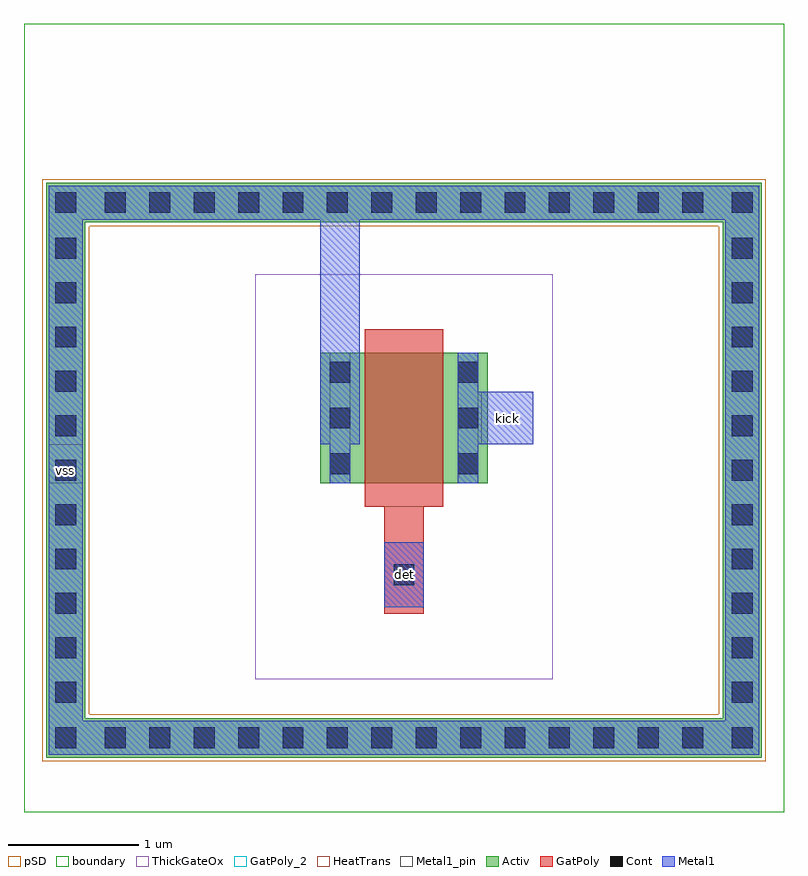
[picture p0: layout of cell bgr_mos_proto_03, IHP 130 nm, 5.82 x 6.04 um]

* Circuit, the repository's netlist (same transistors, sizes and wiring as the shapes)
.subckt bgr_mos_proto_03 kick det vss
MUNIT kick det vss vss sg13_hv_nmos l=0.6u w=1u as=0.34p ad=0.34p ps=2.68u pd=2.68u rfmode=0
.ends bgr_mos_proto_03

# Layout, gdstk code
import gdstk
lib = gdstk.Library(unit=1e-6, precision=1e-09)
def R(c, l, rs):  # rectangles x0, y0, x1, y1
    for r in rs: c.add(gdstk.rectangle(r[:2], r[2:], *l))
def A(c, l, x, y, w, h, nx, ny, dx, dy):  # array of equal rectangles
    R(c, l, [(x+i*dx, y+j*dy, x+i*dx+w, y+j*dy+h) for i in range(nx) for j in range(ny)])
def P(c, l, *ps):  # polygons
    for p in ps: c.add(gdstk.Polygon(p, *l))
Activ = (1, 0)
GatPoly = (5, 0)
GatPoly_2 = (5, 2)
Cont = (6, 0)
Metal1 = (8, 0)
Metal1_pin = (8, 2)
pSD = (14, 0)
ThickGateOx = (44, 0)
HeatTrans = (51, 0)
boundary = (189, 4)

nmoshv = lib.new_cell('nmosHV')
R(nmoshv, Activ, [(0,0,0.3,0.3), (0,0,1.28,1), (0.98,0,1.28,0.3)])
R(nmoshv, GatPoly, [(0.34,-0.18,0.94,1.18)])
R(nmoshv, GatPoly_2, [(0.34,-0.18,0.94,1.18)])
A(nmoshv, Cont, 0.07, 0.07, 0.16, 0.16, 1, 3, 0, 0.35)
A(nmoshv, Cont, 1.05, 0.07, 0.16, 0.16, 1, 3, 0, 0.35)
R(nmoshv, Metal1, [(0.07,0,0.23,1), (1.05,0,1.21,1)])
R(nmoshv, Metal1_pin, [(0.07,0,0.23,1), (1.05,0,1.21,1)])
R(nmoshv, ThickGateOx, [(-0.27,-0.52,1.55,1.52)])
R(nmoshv, HeatTrans, [(0.34,-0.18,0.94,1.18)])
nmoshv.add(gdstk.Label('nmosHV', (0.64,0.5), layer=63, texttype=0))
nmoshv.add(gdstk.Label('nmosHV', (0.64,0.5), layer=51, texttype=0))

bgr_mos_proto_03 = lib.new_cell('bgr_mos_proto_03')
P(bgr_mos_proto_03, Activ, [(7.9,7.9),(7.9,12),(8.2,12),(8.2,8.2),(13.08,8.2),(13.08,12),(7.9,12),(7.9,12.3),(13.38,12.3),(13.38,7.9)])
R(bgr_mos_proto_03, GatPoly, [(10.49,9,10.79,9.82)])
A(bgr_mos_proto_03, Cont, 8.35, 7.97, 0.16, 0.16, 14, 2, 0.34, 4.1)
A(bgr_mos_proto_03, Cont, 7.97, 8.32, 0.16, 0.16, 1, 11, 0, 0.34)
A(bgr_mos_proto_03, Cont, 13.15, 8.32, 0.16, 0.16, 1, 11, 0, 0.34)
R(bgr_mos_proto_03, Cont, [(7.97,7.97,8.13,8.13), (13.15,7.97,13.31,8.13), (10.56,9.22,10.72,9.38), (7.97,12.07,8.13,12.23), (13.15,12.07,13.31,12.23)])
R(bgr_mos_proto_03, Metal1, [(10.49,9.05,10.79,9.55), (10,10.3,10.3,12.28), (11.05,10.3,11.63,10.7)])
P(bgr_mos_proto_03, Metal1, [(7.92,7.92),(7.92,12.02),(8.18,12.02),(8.18,8.18),(13.1,8.18),(13.1,12.02),(7.92,12.02),(7.92,12.28),(13.36,12.28),(13.36,7.92)])
R(bgr_mos_proto_03, Metal1_pin, [(10.49,9.05,10.79,9.55), (7.92,10,8.18,10.3), (11.23,10.3,11.63,10.7)])
P(bgr_mos_proto_03, pSD, [(7.87,7.87),(7.87,11.97),(8.23,11.97),(8.23,8.23),(13.05,8.23),(13.05,11.97),(7.87,11.97),(7.87,12.33),(13.41,12.33),(13.41,7.87)])
R(bgr_mos_proto_03, ThickGateOx, [(9.5,8.5,11.78,11.6)])
R(bgr_mos_proto_03, boundary, [(7.73,7.48,13.55,13.52)])
bgr_mos_proto_03.add(gdstk.Reference(nmoshv, (10,10)))
bgr_mos_proto_03.add(gdstk.Label('det', (10.64,9.3), layer=8, texttype=25))
bgr_mos_proto_03.add(gdstk.Label('kick', (11.43,10.5), layer=8, texttype=25))
bgr_mos_proto_03.add(gdstk.Label('vss', (8.05,10.1), layer=8, texttype=25))

lib.write_gds('bgr_mos_proto_03.gds')
